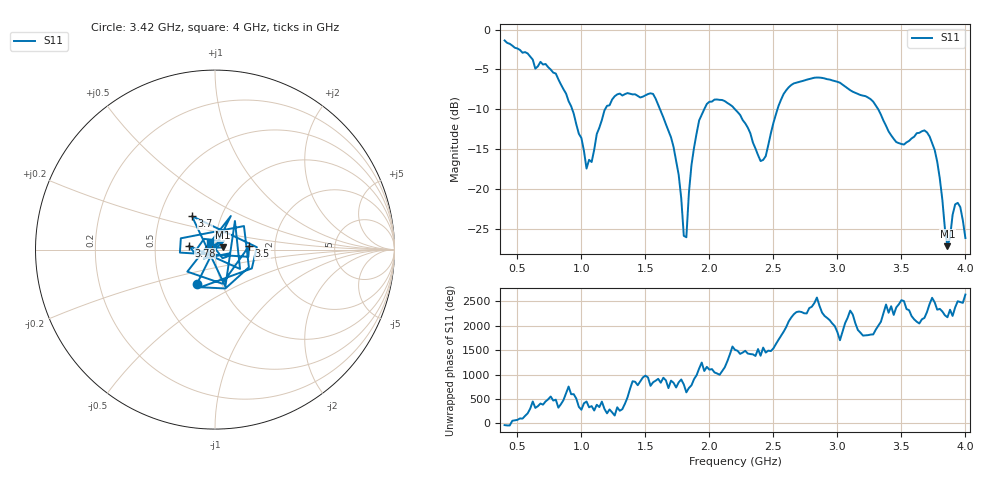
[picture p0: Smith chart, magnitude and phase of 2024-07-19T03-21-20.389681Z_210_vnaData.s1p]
!Created with skrf (http://scikit-rf.org).
# Hz S RI R 50.0
!freq ReS11 ImS11
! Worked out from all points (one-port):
!   181 points, 400 MHz to 4 GHz, reference 50 ohm
!   lowest |S11| = -27.2 dB at 3.86 GHz (marker M1), VSWR 1.09, Z = 54.4 + j1.34 ohm
!   |S11| at or under -10 dB: 1.614 GHz to 1.959 GHz (345 MHz wide, 19.3 % of centre); 2.2 GHz to 2.532 GHz (331.7 MHz wide, 14 % of centre); 3.319 GHz to end of sweep (the widest 3 of 4)
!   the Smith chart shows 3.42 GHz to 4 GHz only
!   S11 on the Smith chart (normalised r, x): 3.42 GHz: 0.76, -0.31; 3.5 GHz: 1.47, +0.06; 3.7 GHz: 0.72, +0.29; 3.78 GHz: 0.74, +0.03; 4 GHz: 0.95, +0.08
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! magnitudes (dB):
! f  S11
! 400 MHz  -1.4
! 860 MHz  -7.5
! 1 GHz  -13.6
! 1.04 GHz  -17.4
! 1.18 GHz  -10.1
! 1.3 GHz  -8.0
! 1.56 GHz  -8.1
! 1.7 GHz  -13.5
! 1.76 GHz  -18.2
! 1.8 GHz  -25.9
! 1.82 GHz  -26.0
! 1.86 GHz  -17.0
! 1.92 GHz  -11.4
! 2.04 GHz  -8.8
! 2.2 GHz  -10.0
! 2.4 GHz  -16.5
! 2.56 GHz  -8.8
! 2.66 GHz  -6.7
! 3.1 GHz  -7.6
! 3.28 GHz  -9.0
! 3.42 GHz  -13.3
! 3.5 GHz  -14.3
! 3.56 GHz  -14.0
! 3.7 GHz  -12.9
! 3.78 GHz  -16.6
! 3.86 GHz  -27.2
! 3.94 GHz  -21.7
! 4 GHz  -26.1
